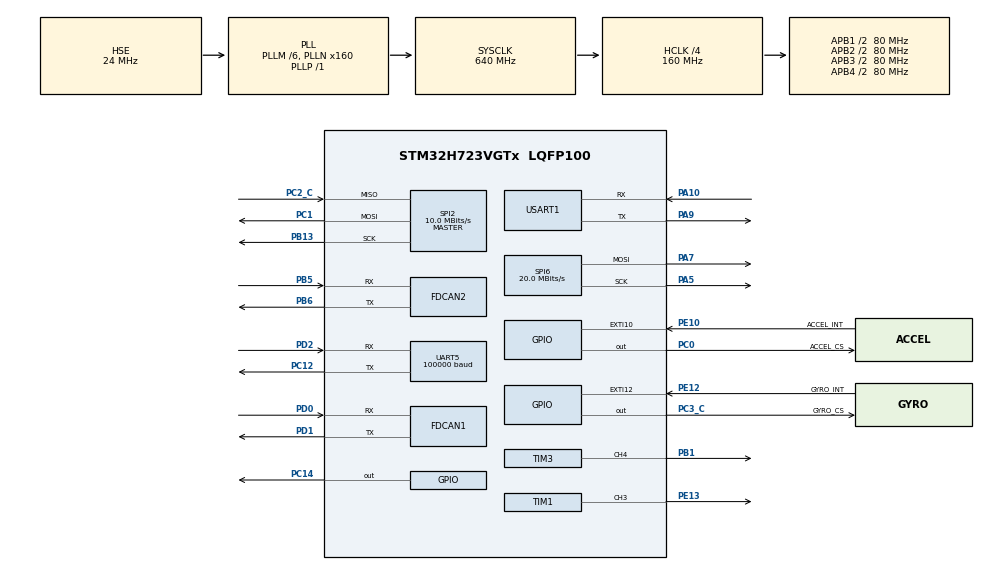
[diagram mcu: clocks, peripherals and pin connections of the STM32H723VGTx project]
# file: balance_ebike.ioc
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CORTEX_M7.default_mode_Activation=1
Dma.Request0=SPI2_RX
Dma.Request1=SPI2_TX
Dma.SPI2_RX.0.Direction=DMA_PERIPH_TO_MEMORY
Dma.SPI2_RX.0.EventEnable=DISABLE
Dma.SPI2_RX.0.FIFOMode=DMA_FIFOMODE_DISABLE
Dma.SPI2_RX.0.Instance=DMA1_Stream0
Dma.SPI2_RX.0.MemDataAlignment=DMA_MDATAALIGN_BYTE
Dma.SPI2_RX.0.MemInc=DMA_MINC_ENABLE
Dma.SPI2_RX.0.Mode=DMA_NORMAL
Dma.SPI2_RX.0.PeriphDataAlignment=DMA_PDATAALIGN_BYTE
Dma.SPI2_RX.0.PeriphInc=DMA_PINC_DISABLE
Dma.SPI2_RX.0.Polarity=HAL_DMAMUX_REQ_GEN_RISING
Dma.SPI2_RX.0.Priority=DMA_PRIORITY_VERY_HIGH
Dma.SPI2_RX.0.RequestNumber=1
Dma.SPI2_RX.0.SignalID=NONE
Dma.SPI2_RX.0.SyncEnable=DISABLE
Dma.SPI2_RX.0.SyncPolarity=HAL_DMAMUX_SYNC_NO_EVENT
Dma.SPI2_RX.0.SyncRequestNumber=1
Dma.SPI2_RX.0.SyncSignalID=NONE
Dma.SPI2_TX.1.Direction=DMA_MEMORY_TO_PERIPH
Dma.SPI2_TX.1.EventEnable=DISABLE
Dma.SPI2_TX.1.FIFOMode=DMA_FIFOMODE_DISABLE
Dma.SPI2_TX.1.Instance=DMA1_Stream1
Dma.SPI2_TX.1.MemDataAlignment=DMA_MDATAALIGN_BYTE
Dma.SPI2_TX.1.MemInc=DMA_MINC_ENABLE
Dma.SPI2_TX.1.Mode=DMA_NORMAL
Dma.SPI2_TX.1.PeriphDataAlignment=DMA_PDATAALIGN_BYTE
Dma.SPI2_TX.1.PeriphInc=DMA_PINC_DISABLE
Dma.SPI2_TX.1.Polarity=HAL_DMAMUX_REQ_GEN_RISING
Dma.SPI2_TX.1.Priority=DMA_PRIORITY_MEDIUM
Dma.SPI2_TX.1.RequestNumber=1
Dma.SPI2_TX.1.SignalID=NONE
Dma.SPI2_TX.1.SyncEnable=DISABLE
Dma.SPI2_TX.1.SyncPolarity=HAL_DMAMUX_SYNC_NO_EVENT
Dma.SPI2_TX.1.SyncRequestNumber=1
Dma.SPI2_TX.1.SyncSignalID=NONE
FDCAN1.CalculateBaudRateNominal=1000000
FDCAN1.CalculateTimeBitNominal=1000
FDCAN1.CalculateTimeQuantumNominal=50.0
FDCAN1.DataPrescaler=5
FDCAN1.DataSyncJumpWidth=5
FDCAN1.DataTimeSeg1=14
FDCAN1.DataTimeSeg2=5
FDCAN1.NominalPrescaler=5
FDCAN1.NominalSyncJumpWidth=5
FDCAN1.NominalTimeSeg1=14
FDCAN1.NominalTimeSeg2=5
FDCAN1.ProtocolException=ENABLE
FDCAN1.RxFifo0ElmtsNbr=8
FDCAN1.StdFiltersNbr=1
FDCAN1.TxFifoQueueElmtsNbr=8
FDCAN2.AutoRetransmission=DISABLE
FDCAN2.CalculateBaudRateNominal=1000000
FDCAN2.CalculateTimeBitNominal=1000
FDCAN2.CalculateTimeQuantumNominal=50.0
FDCAN2.DataSyncJumpWidth=5
FDCAN2.DataTimeSeg1=14
FDCAN2.DataTimeSeg2=5
FDCAN2.ExtFiltersNbr=0
FDCAN2.FrameFormat=FDCAN_FRAME_CLASSIC
FDCAN2.MessageRAMOffset=853
FDCAN2.NominalPrescaler=5
FDCAN2.NominalSyncJumpWidth=5
FDCAN2.NominalTimeSeg1=14
FDCAN2.NominalTimeSeg2=5
FDCAN2.ProtocolException=ENABLE
FDCAN2.RxBuffersNbr=0
FDCAN2.RxFifo0ElmtsNbr=0
FDCAN2.RxFifo1ElmtsNbr=8
FDCAN2.StdFiltersNbr=1
FDCAN2.TxBuffersNbr=0
FDCAN2.TxEventsNbr=0
FDCAN2.TxFifoQueueElmtsNbr=8
Mcu.Family=STM32H7
Mcu.Name=STM32H723VGTx
Mcu.Package=LQFP100
NVIC.DMA1_Stream0_IRQn=true\:0\:0\:false\:false\:true\:false\:true\:true
NVIC.DMA1_Stream1_IRQn=true\:0\:0\:false\:false\:true\:false\:true\:true
NVIC.FDCAN1_IT0_IRQn=true\:0\:0\:false\:false\:true\:true\:true\:true
NVIC.FDCAN2_IT1_IRQn=true\:0\:0\:false\:false\:true\:true\:true\:true
NVIC.PriorityGroup=NVIC_PRIORITYGROUP_4
NVIC.SPI2_IRQn=true\:0\:0\:false\:false\:true\:false\:true\:true
NVIC.TIM2_IRQn=true\:5\:0\:true\:false\:true\:true\:true\:true
NVIC.TIM4_IRQn=true\:5\:0\:true\:false\:true\:true\:true\:true
NVIC.UART5_IRQn=true\:0\:0\:false\:false\:true\:true\:true\:true
PA10.Mode=Asynchronous
PA10.Signal=USART1_RX
PA13(JTMS/SWDIO).Mode=Serial_Wire
PA13(JTMS/SWDIO).Signal=DEBUG_JTMS-SWDIO
PA14(JTCK/SWCLK).Mode=Serial_Wire
PA14(JTCK/SWCLK).Signal=DEBUG_JTCK-SWCLK
PA5.Mode=TX_Only_Simplex_Unidirect_Master
PA5.Signal=SPI6_SCK
PA7.Mode=TX_Only_Simplex_Unidirect_Master
PA7.Signal=SPI6_MOSI
PA9.Mode=Asynchronous
PA9.Signal=USART1_TX
PB1.Signal=S_TIM3_CH4
PB13.GPIO_Speed=GPIO_SPEED_FREQ_VERY_HIGH
PB13.Mode=Full_Duplex_Master
PB13.Signal=SPI2_SCK
PB5.GPIO_Speed=GPIO_SPEED_FREQ_HIGH
PB5.Mode=FDCAN_Activate
PB5.Signal=FDCAN2_RX
PB6.GPIO_Speed=GPIO_SPEED_FREQ_HIGH
PB6.Mode=FDCAN_Activate
PB6.Signal=FDCAN2_TX
PC0.GPIO_Label=ACCEL_CS
PC0.GPIO_Speed=GPIO_SPEED_FREQ_VERY_HIGH
PC0.PinState=GPIO_PIN_SET
PC0.Signal=GPIO_Output
PC1.GPIO_Speed=GPIO_SPEED_FREQ_VERY_HIGH
PC1.Mode=Full_Duplex_Master
PC1.Signal=SPI2_MOSI
PC12.Mode=Asynchronous
PC12.Signal=UART5_TX
PC14-OSC32_IN.Signal=GPIO_Output
PC2_C.GPIO_Speed=GPIO_SPEED_FREQ_VERY_HIGH
PC2_C.Mode=Full_Duplex_Master
PC2_C.Signal=SPI2_MISO
PC3_C.GPIO_Label=GYRO_CS
PC3_C.GPIO_Speed=GPIO_SPEED_FREQ_VERY_HIGH
PC3_C.PinState=GPIO_PIN_SET
PC3_C.Signal=GPIO_Output
PD0.GPIO_Speed=GPIO_SPEED_FREQ_HIGH
PD0.Mode=FDCAN_Activate
PD0.Signal=FDCAN1_RX
PD1.GPIO_Speed=GPIO_SPEED_FREQ_HIGH
PD1.Mode=FDCAN_Activate
PD1.Signal=FDCAN1_TX
PD2.Mode=Asynchronous
PD2.Signal=UART5_RX
PE10.GPIO_Label=ACCEL_INT
PE10.Signal=GPXTI10
PE12.GPIO_Label=GYRO_INT
PE12.Signal=GPXTI12
PE13.Signal=S_TIM1_CH3
PH0-OSC_IN.Mode=HSE-External-Oscillator
PH0-OSC_IN.Signal=RCC_OSC_IN
PH1-OSC_OUT.Mode=HSE-External-Oscillator
PH1-OSC_OUT.Signal=RCC_OSC_OUT
ProjectManager.HeapSize=0x2000
ProjectManager.StackSize=0x4000
ProjectManager.TargetToolchain=CMake
RCC.ADCFreq_Value=100000000
RCC.APB1Freq_Value=80000000
RCC.APB2Freq_Value=80000000
RCC.APB3Freq_Value=80000000
RCC.APB4Freq_Value=80000000
RCC.CortexFreq_Value=640000000
RCC.D1PPRE=RCC_APB3_DIV2
RCC.D2PPRE1=RCC_APB1_DIV2
RCC.D2PPRE2=RCC_APB2_DIV2
RCC.D3PPRE=RCC_APB4_DIV2
RCC.DIVM1=6
RCC.DIVM2=24
RCC.DIVM3=24
RCC.DIVN1=160
RCC.DIVN2=200
RCC.DIVN3=160
RCC.DIVP1=1
RCC.DIVQ1=6
RCC.FDCANCLockSelection=RCC_FDCANCLKSOURCE_PLL2
RCC.HCLKFreq_Value=160000000
RCC.HPRE=RCC_HCLK_DIV4
RCC.HSE_VALUE=24000000
RCC.PLL2FRACN=0
RCC.PLL3FRACN=0
RCC.PLLFRACN=0
RCC.PLLSourceVirtual=RCC_PLLSOURCE_HSE
RCC.SPI123CLockSelection=RCC_SPI123CLKSOURCE_PLL3
RCC.SYSCLKFreq_VALUE=640000000
RCC.SYSCLKSource=RCC_SYSCLKSOURCE_PLLCLK
RCC.USBFreq_Value=106666666.66666667
SH.S_TIM1_CH3.0=TIM1_CH3,PWM Generation3 CH3
SH.S_TIM3_CH4.0=TIM3_CH4,PWM Generation4 CH4
SPI2.BaudRatePrescaler=SPI_BAUDRATEPRESCALER_8
SPI2.CLKPhase=SPI_PHASE_2EDGE
SPI2.CLKPolarity=SPI_POLARITY_HIGH
SPI2.CalculateBaudRate=10.0 MBits/s
SPI2.DataSize=SPI_DATASIZE_8BIT
SPI2.Direction=SPI_DIRECTION_2LINES
SPI2.Mode=SPI_MODE_MASTER
SPI2.NSSPMode=SPI_NSS_PULSE_DISABLE
SPI2.VirtualType=VM_MASTER
SPI6.BaudRatePrescaler=SPI_BAUDRATEPRESCALER_4
SPI6.CLKPhase=SPI_PHASE_2EDGE
SPI6.CalculateBaudRate=20.0 MBits/s
SPI6.DataSize=SPI_DATASIZE_8BIT
SPI6.Direction=SPI_DIRECTION_2LINES_TXONLY
SPI6.Mode=SPI_MODE_MASTER
SPI6.VirtualType=VM_MASTER
STMicroelectronics.X-CUBE-ALGOBUILD.1.4.0.LibraryCcDSPOoLibraryJjDSPOoLibrary=true
TIM1.Channel-PWM\ Generation3\ CH3=TIM_CHANNEL_3
TIM1.Period=19999
TIM1.Prescaler=159
TIM1.Pulse-PWM\ Generation3\ CH3=1000
TIM2.AutoReloadPreload=TIM_AUTORELOAD_PRELOAD_ENABLE
TIM2.Period=999
TIM2.Prescaler=159
TIM3.Channel-PWM\ Generation4\ CH4=TIM_CHANNEL_4
TIM3.Period=20000-1
TIM3.Prescaler=80-1
TIM4.Period=1000-1
TIM4.Prescaler=160-1
UART5.BaudRate=100000
UART5.StopBits=UART_STOPBITS_2
UART5.WordLength=WORDLENGTH_9B
USART1.VirtualMode-Asynchronous=VM_ASYNC
VP_MEMORYMAP_VS_MEMORYMAP.Mode=CurAppReg
VP_STMicroelectronics.X-CUBE-ALGOBUILD_VS_DSPOoLibraryJjLibrary_1.4.0_1.4.0.Mode=DSPOoLibraryJjLibrary
VP_TIM1_VS_ClockSourceINT.Mode=Internal
VP_TIM2_VS_ClockSourceINT.Mode=Internal
VP_TIM4_VS_ClockSourceINT.Mode=Internal
VP_TIM5_VS_ClockSourceINT.Mode=Internal
board=custom

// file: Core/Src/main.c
/* USER CODE BEGIN Header */
/**
  ******************************************************************************
  * @file           : main.c
  * @brief          : Main program body
  ******************************************************************************
  * @attention
  *
  * Copyright (c) 2025 STMicroelectronics.
  * All rights reserved.
  *
  * This software is licensed under terms that can be found in the LICENSE file
  * in the root directory of this software component.
  * If no LICENSE file comes with this software, it is provided AS-IS.
  *
  ******************************************************************************
  */
/* USER CODE END Header */
#include "main.h"
#include "dma.h"
#include "fdcan.h"
#include "memorymap.h"
#include "spi.h"
#include "tim.h"
#include "usart.h"
#include "gpio.h"

/* USER CODE BEGIN Includes */
#include "bsp_sbus.h"
#include "at9s_pro.h"
#include "balance_control.h"
#include "BMI088.h"
#include "bsp_gpio.h"
#include "bsp_pwm.h"
#include "DJI_Motor.h"
#include "DM_Motor.h"
#include "INS.h"
#include "bsp_mcu.h"
#include "stm32h7xx_hal_fdcan.h"
#include "ws2812.h"
#include "remote_control.h"
#include "XAG_Motor.h"
/* USER CODE END Includes */

void SystemClock_Config(void);
void PeriphCommonClock_Config(void);
static void MPU_Config(void);

int main(void)
{

  /* MPU Configuration--------------------------------------------------------*/
  MPU_Config();

  /* MCU Configuration--------------------------------------------------------*/

  /* Reset of all peripherals, Initializes the Flash interface and the Systick. */
  HAL_Init();

  /* Configure the system clock */
  SystemClock_Config();

  /* Configure the peripherals common clocks */
  PeriphCommonClock_Config();

  /* Initialize all configured peripherals */
  MX_GPIO_Init();
  MX_DMA_Init();
  MX_USART1_UART_Init();
  MX_SPI6_Init();
  MX_FDCAN1_Init();
  MX_TIM2_Init();
  MX_FDCAN2_Init();
  MX_TIM3_Init();
  MX_SPI2_Init();
  MX_TIM4_Init();
  MX_UART5_Init();
  MX_TIM1_Init();
  MX_TIM5_Init();
  /* USER CODE BEGIN 2 */
    RetargetInit(&huart1);
    HAL_TIM_Base_Start_IT(&htim2);
    HAL_TIM_Base_Start_IT(&htim4);
    HAL_UART_Receive_IT(&huart5, at9s_rx, 1); // remote control data receive interrupt

    // System_On();
    BSP_PWM_Init();
    BSP_GPIO_Init();

    ESC_Init();
    DJI_Motor_Init();
    Motor_PID_Init(&dji_motor_speed_pid, 10.f, 0.75f, 1.0f, 10000.0f, 5000.0f);
    DM_Motor_init();
    DM_Motor_Enable(CAN_ID,POS_MODE);
    INS_Init();
    Balance_Yu_Init();
    Balance_Controller_Init();

    printf("SYSTEM START!!!!!\r\n");
  /* USER CODE END 2 */

  /* Infinite loop */
  /* USER CODE BEGIN WHILE */
    while (1) {
        // printf("hello\r\n");
        // HAL_Delay(500);
        Remote_Control_Update();
        Remote_Control_Parse();
        INS_Monitor();

        // printf("pwm pulse set: %.2f us\r\n", xag_motor_pwm);
        // printf("Roll: %.2f deg, Roll_speed: %.2f rad/s, Steer Cmd: %.2f deg, bike_speed=%.2f m/s\r\n",
        //        INS_Info.Roll_Angle, INS_Info.Gyro[IMU_GYRO_INDEX_ROLL],
        //        dm_target_position_rad * 57.3f, Get_Bicycle_Speed());
      // __HAL_TIM_SET_COMPARE(&htim1, TIM_CHANNEL_3, 1200); //1200-2300

        // DM_Motor_Pos_Ctrl(&hfdcan2, CAN_ID, dm_target_position_rad, 1.f); // 控制DM电机1到2 rad位置，速度1 rad/s

        // printf("bike_speed=%.2f\r\n", Get_Bicycle_Speed());

        // HAL_Delay(200); // 主循环以较低频率打印状态
        // printf("Roll=%.2f,Pitch=%.2f,Yaw=%.2f\r\n", INS_Info.Roll_Angle, INS_Info.Pitch_Angle, INS_Info.Yaw_Angle);
        // printf("BMI088 Status: init: %x, Temp: %.3f C, G_Offset X: %f, Y: %f, Z: %f\r\n",
        //       BMI088_Info.Offsets_Init,
        //        BMI088_Info.Temperature,
        //        BMI088_Info.Offsets_Gyro_X,
        //        BMI088_Info.Offsets_Gyro_Y,
        //        BMI088_Info.Offsets_Gyro_Z);

        // // 使用 HAL_Delay 来控制打印频率，例如每200ms打印一次
        // HAL_Delay(200);
        // printf("Target: %.2f RPM, Actual: %d RPM, PID_Output: %.0f\r\n",
        //        dji_target_speed_rpm,
        //        motor_feedback[0].speed_rpm,
        //        dji_motor_speed_pid.output);
        // printf("T1=%.0f,A1=%d\r\n", dji_target_speed_rpm, motor_feedback[0].speed_rpm);
        // printf("DM Target:%.2f, Actual: P=%.2f, V=%.2f, T=%.2f\r\n",
        //        dm_target_position_rad,
        //        dm_motor_feedback[0].position,
        //        dm_motor_feedback[0].velocity,
        //        dm_motor_feedback[0].torque);
        // HAL_Delay(200); // 降低打印频率
    }
    /* USER CODE END WHILE */

}

void SystemClock_Config(void)
{
  RCC_OscInitTypeDef RCC_OscInitStruct = {0};
  RCC_ClkInitTypeDef RCC_ClkInitStruct = {0};

  /** Supply configuration update enable
  */
  HAL_PWREx_ConfigSupply(PWR_LDO_SUPPLY);

  /** Configure the main internal regulator output voltage
  */
  __HAL_PWR_VOLTAGESCALING_CONFIG(PWR_REGULATOR_VOLTAGE_SCALE1);

  while(!__HAL_PWR_GET_FLAG(PWR_FLAG_VOSRDY)) {}

  /** Initializes the RCC Oscillators according to the specified parameters
  * in the RCC_OscInitTypeDef structure.
  */
  RCC_OscInitStruct.OscillatorType = RCC_OSCILLATORTYPE_HSE;
  RCC_OscInitStruct.HSEState = RCC_HSE_ON;
  RCC_OscInitStruct.PLL.PLLState = RCC_PLL_ON;
  RCC_OscInitStruct.PLL.PLLSource = RCC_PLLSOURCE_HSE;
  RCC_OscInitStruct.PLL.PLLM = 6;
  RCC_OscInitStruct.PLL.PLLN = 160;
  RCC_OscInitStruct.PLL.PLLP = 1;
  RCC_OscInitStruct.PLL.PLLQ = 6;
  RCC_OscInitStruct.PLL.PLLR = 2;
  RCC_OscInitStruct.PLL.PLLRGE = RCC_PLL1VCIRANGE_2;
  RCC_OscInitStruct.PLL.PLLVCOSEL = RCC_PLL1VCOWIDE;
  RCC_OscInitStruct.PLL.PLLFRACN = 0;
  if (HAL_RCC_OscConfig(&RCC_OscInitStruct) != HAL_OK)
  {
    Error_Handler();
  }

  /** Initializes the CPU, AHB and APB buses clocks
  */
  RCC_ClkInitStruct.ClockType = RCC_CLOCKTYPE_HCLK|RCC_CLOCKTYPE_SYSCLK
                              |RCC_CLOCKTYPE_PCLK1|RCC_CLOCKTYPE_PCLK2
                              |RCC_CLOCKTYPE_D3PCLK1|RCC_CLOCKTYPE_D1PCLK1;
  RCC_ClkInitStruct.SYSCLKSource = RCC_SYSCLKSOURCE_PLLCLK;
  RCC_ClkInitStruct.SYSCLKDivider = RCC_SYSCLK_DIV1;
  RCC_ClkInitStruct.AHBCLKDivider = RCC_HCLK_DIV4;
  RCC_ClkInitStruct.APB3CLKDivider = RCC_APB3_DIV2;
  RCC_ClkInitStruct.APB1CLKDivider = RCC_APB1_DIV2;
  RCC_ClkInitStruct.APB2CLKDivider = RCC_APB2_DIV2;
  RCC_ClkInitStruct.APB4CLKDivider = RCC_APB4_DIV2;

  if (HAL_RCC_ClockConfig(&RCC_ClkInitStruct, FLASH_LATENCY_2) != HAL_OK)
  {
    Error_Handler();
  }
}

void PeriphCommonClock_Config(void)
{
  RCC_PeriphCLKInitTypeDef PeriphClkInitStruct = {0};

  /** Initializes the peripherals clock
  */
  PeriphClkInitStruct.PeriphClockSelection = RCC_PERIPHCLK_FDCAN;
  PeriphClkInitStruct.PLL2.PLL2M = 24;
  PeriphClkInitStruct.PLL2.PLL2N = 200;
  PeriphClkInitStruct.PLL2.PLL2P = 2;
  PeriphClkInitStruct.PLL2.PLL2Q = 2;
  PeriphClkInitStruct.PLL2.PLL2R = 2;
  PeriphClkInitStruct.PLL2.PLL2RGE = RCC_PLL2VCIRANGE_0;
  PeriphClkInitStruct.PLL2.PLL2VCOSEL = RCC_PLL2VCOMEDIUM;
  PeriphClkInitStruct.PLL2.PLL2FRACN = 0;
  PeriphClkInitStruct.FdcanClockSelection = RCC_FDCANCLKSOURCE_PLL2;
  if (HAL_RCCEx_PeriphCLKConfig(&PeriphClkInitStruct) != HAL_OK)
  {
    Error_Handler();
  }
}

/* USER CODE BEGIN 4 */
// void HAL_FDCAN_ErrorCallback(FDCAN_HandleTypeDef *hfdcan) {
//   // 在这里设置断点！
//   uint32_t error_status = HAL_FDCAN_GetError(hfdcan);
//   if ((error_status & FDCAN_IT_BUS_OFF) != 0) {
//     // 您的程序大概率会停在这里！
//   }
// }
/* USER CODE END 4 */

 /* MPU Configuration */

void MPU_Config(void)
{
  MPU_Region_InitTypeDef MPU_InitStruct = {0};

  /* Disables the MPU */
  HAL_MPU_Disable();

  /** Initializes and configures the Region and the memory to be protected
  */
  MPU_InitStruct.Enable = MPU_REGION_ENABLE;
  MPU_InitStruct.Number = MPU_REGION_NUMBER0;
  MPU_InitStruct.BaseAddress = 0x0;
  MPU_InitStruct.Size = MPU_REGION_SIZE_4GB;
  MPU_InitStruct.SubRegionDisable = 0x87;
  MPU_InitStruct.TypeExtField = MPU_TEX_LEVEL0;
  MPU_InitStruct.AccessPermission = MPU_REGION_NO_ACCESS;
  MPU_InitStruct.DisableExec = MPU_INSTRUCTION_ACCESS_DISABLE;
  MPU_InitStruct.IsShareable = MPU_ACCESS_SHAREABLE;
  MPU_InitStruct.IsCacheable = MPU_ACCESS_NOT_CACHEABLE;
  MPU_InitStruct.IsBufferable = MPU_ACCESS_NOT_BUFFERABLE;

  HAL_MPU_ConfigRegion(&MPU_InitStruct);
  /* Enables the MPU */
  HAL_MPU_Enable(MPU_PRIVILEGED_DEFAULT);

}

void Error_Handler(void)
{
    __disable_irq();
    while (1) {
    }
}
